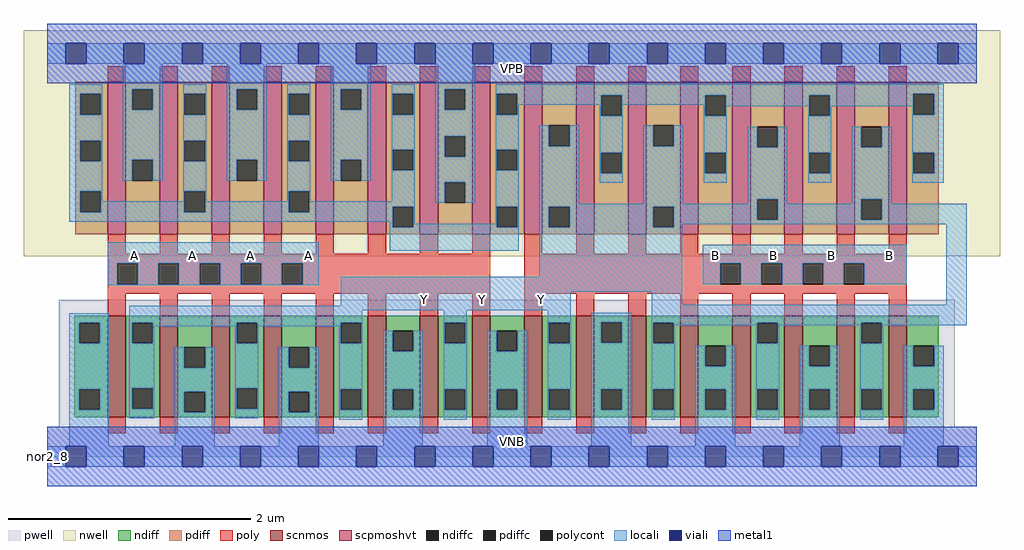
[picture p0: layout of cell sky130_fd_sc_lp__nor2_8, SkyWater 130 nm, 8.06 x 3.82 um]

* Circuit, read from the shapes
.subckt sky130_fd_sc_lp__nor2_8 A B VGND VNB VPB VPWR Y
XM1 Y A VGND VNB sky130_fd_pr__nfet_01v8 w=0.84 l=0.15 m=8
XM2 Y B VGND VNB sky130_fd_pr__nfet_01v8 w=0.84 l=0.15 m=8
XM3 VPWR A n1 VPB sky130_fd_pr__pfet_01v8_hvt w=1.26 l=0.15 m=8
XM4 Y B n1 VPB sky130_fd_pr__pfet_01v8_hvt w=1.26 l=0.15 m=8
.ends

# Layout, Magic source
magic
tech sky130A
magscale 1 2
<< nwell >>
rect -38 331 1574 704
<< pwell >>
rect 19 49 1499 259
rect 0 0 1536 49
<< scnmos >>
rect 100 65 130 233
rect 186 65 216 233
rect 272 65 302 233
rect 358 65 388 233
rect 444 65 474 233
rect 530 65 560 233
rect 616 65 646 233
rect 702 65 732 233
rect 788 65 818 233
rect 874 65 904 233
rect 960 65 990 233
rect 1046 65 1076 233
rect 1132 65 1162 233
rect 1218 65 1248 233
rect 1304 65 1334 233
rect 1390 65 1420 233
<< scpmoshvt >>
rect 100 367 130 619
rect 186 367 216 619
rect 272 367 302 619
rect 358 367 388 619
rect 444 367 474 619
rect 530 367 560 619
rect 616 367 646 619
rect 702 367 732 619
rect 788 367 818 619
rect 874 367 904 619
rect 960 367 990 619
rect 1046 367 1076 619
rect 1132 367 1162 619
rect 1218 367 1248 619
rect 1304 367 1334 619
rect 1390 367 1420 619
<< ndiff >>
rect 45 221 100 233
rect 45 187 53 221
rect 87 187 100 221
rect 45 111 100 187
rect 45 77 53 111
rect 87 77 100 111
rect 45 65 100 77
rect 130 221 186 233
rect 130 187 141 221
rect 175 187 186 221
rect 130 113 186 187
rect 130 79 141 113
rect 175 79 186 113
rect 130 65 186 79
rect 216 181 272 233
rect 216 147 227 181
rect 261 147 272 181
rect 216 107 272 147
rect 216 73 227 107
rect 261 73 272 107
rect 216 65 272 73
rect 302 221 358 233
rect 302 187 313 221
rect 347 187 358 221
rect 302 113 358 187
rect 302 79 313 113
rect 347 79 358 113
rect 302 65 358 79
rect 388 181 444 233
rect 388 147 399 181
rect 433 147 444 181
rect 388 107 444 147
rect 388 73 399 107
rect 433 73 444 107
rect 388 65 444 73
rect 474 221 530 233
rect 474 187 485 221
rect 519 187 530 221
rect 474 111 530 187
rect 474 77 485 111
rect 519 77 530 111
rect 474 65 530 77
rect 560 208 616 233
rect 560 174 571 208
rect 605 174 616 208
rect 560 111 616 174
rect 560 77 571 111
rect 605 77 616 111
rect 560 65 616 77
rect 646 221 702 233
rect 646 187 657 221
rect 691 187 702 221
rect 646 111 702 187
rect 646 77 657 111
rect 691 77 702 111
rect 646 65 702 77
rect 732 208 788 233
rect 732 174 743 208
rect 777 174 788 208
rect 732 111 788 174
rect 732 77 743 111
rect 777 77 788 111
rect 732 65 788 77
rect 818 221 874 233
rect 818 187 829 221
rect 863 187 874 221
rect 818 111 874 187
rect 818 77 829 111
rect 863 77 874 111
rect 818 65 874 77
rect 904 222 960 233
rect 904 188 915 222
rect 949 188 960 222
rect 904 111 960 188
rect 904 77 915 111
rect 949 77 960 111
rect 904 65 960 77
rect 990 221 1046 233
rect 990 187 1001 221
rect 1035 187 1046 221
rect 990 111 1046 187
rect 990 77 1001 111
rect 1035 77 1046 111
rect 990 65 1046 77
rect 1076 183 1132 233
rect 1076 149 1087 183
rect 1121 149 1132 183
rect 1076 111 1132 149
rect 1076 77 1087 111
rect 1121 77 1132 111
rect 1076 65 1132 77
rect 1162 221 1218 233
rect 1162 187 1173 221
rect 1207 187 1218 221
rect 1162 111 1218 187
rect 1162 77 1173 111
rect 1207 77 1218 111
rect 1162 65 1218 77
rect 1248 183 1304 233
rect 1248 149 1259 183
rect 1293 149 1304 183
rect 1248 111 1304 149
rect 1248 77 1259 111
rect 1293 77 1304 111
rect 1248 65 1304 77
rect 1334 221 1390 233
rect 1334 187 1345 221
rect 1379 187 1390 221
rect 1334 111 1390 187
rect 1334 77 1345 111
rect 1379 77 1390 111
rect 1334 65 1390 77
rect 1420 183 1473 233
rect 1420 149 1431 183
rect 1465 149 1473 183
rect 1420 111 1473 149
rect 1420 77 1431 111
rect 1465 77 1473 111
rect 1420 65 1473 77
<< pdiff >>
rect 47 599 100 619
rect 47 565 55 599
rect 89 565 100 599
rect 47 522 100 565
rect 47 488 55 522
rect 89 488 100 522
rect 47 438 100 488
rect 47 404 55 438
rect 89 404 100 438
rect 47 367 100 404
rect 130 607 186 619
rect 130 573 141 607
rect 175 573 186 607
rect 130 490 186 573
rect 130 456 141 490
rect 175 456 186 490
rect 130 367 186 456
rect 216 599 272 619
rect 216 565 227 599
rect 261 565 272 599
rect 216 522 272 565
rect 216 488 227 522
rect 261 488 272 522
rect 216 438 272 488
rect 216 404 227 438
rect 261 404 272 438
rect 216 367 272 404
rect 302 607 358 619
rect 302 573 313 607
rect 347 573 358 607
rect 302 490 358 573
rect 302 456 313 490
rect 347 456 358 490
rect 302 367 358 456
rect 388 599 444 619
rect 388 565 399 599
rect 433 565 444 599
rect 388 522 444 565
rect 388 488 399 522
rect 433 488 444 522
rect 388 438 444 488
rect 388 404 399 438
rect 433 404 444 438
rect 388 367 444 404
rect 474 607 530 619
rect 474 573 485 607
rect 519 573 530 607
rect 474 490 530 573
rect 474 456 485 490
rect 519 456 530 490
rect 474 367 530 456
rect 560 599 616 619
rect 560 565 571 599
rect 605 565 616 599
rect 560 507 616 565
rect 560 473 571 507
rect 605 473 616 507
rect 560 413 616 473
rect 560 379 571 413
rect 605 379 616 413
rect 560 367 616 379
rect 646 607 702 619
rect 646 573 657 607
rect 691 573 702 607
rect 646 529 702 573
rect 646 495 657 529
rect 691 495 702 529
rect 646 453 702 495
rect 646 419 657 453
rect 691 419 702 453
rect 646 367 702 419
rect 732 599 788 619
rect 732 565 743 599
rect 777 565 788 599
rect 732 507 788 565
rect 732 473 743 507
rect 777 473 788 507
rect 732 413 788 473
rect 732 379 743 413
rect 777 379 788 413
rect 732 367 788 379
rect 818 547 874 619
rect 818 513 829 547
rect 863 513 874 547
rect 818 413 874 513
rect 818 379 829 413
rect 863 379 874 413
rect 818 367 874 379
rect 904 597 960 619
rect 904 563 915 597
rect 949 563 960 597
rect 904 502 960 563
rect 904 468 915 502
rect 949 468 960 502
rect 904 367 960 468
rect 990 547 1046 619
rect 990 513 1001 547
rect 1035 513 1046 547
rect 990 413 1046 513
rect 990 379 1001 413
rect 1035 379 1046 413
rect 990 367 1046 379
rect 1076 597 1132 619
rect 1076 563 1087 597
rect 1121 563 1132 597
rect 1076 502 1132 563
rect 1076 468 1087 502
rect 1121 468 1132 502
rect 1076 367 1132 468
rect 1162 545 1218 619
rect 1162 511 1173 545
rect 1207 511 1218 545
rect 1162 425 1218 511
rect 1162 391 1173 425
rect 1207 391 1218 425
rect 1162 367 1218 391
rect 1248 597 1304 619
rect 1248 563 1259 597
rect 1293 563 1304 597
rect 1248 502 1304 563
rect 1248 468 1259 502
rect 1293 468 1304 502
rect 1248 367 1304 468
rect 1334 545 1390 619
rect 1334 511 1345 545
rect 1379 511 1390 545
rect 1334 425 1390 511
rect 1334 391 1345 425
rect 1379 391 1390 425
rect 1334 367 1390 391
rect 1420 599 1473 619
rect 1420 565 1431 599
rect 1465 565 1473 599
rect 1420 502 1473 565
rect 1420 468 1431 502
rect 1465 468 1473 502
rect 1420 367 1473 468
<< ndiffc >>
rect 53 187 87 221
rect 53 77 87 111
rect 141 187 175 221
rect 141 79 175 113
rect 227 147 261 181
rect 227 73 261 107
rect 313 187 347 221
rect 313 79 347 113
rect 399 147 433 181
rect 399 73 433 107
rect 485 187 519 221
rect 485 77 519 111
rect 571 174 605 208
rect 571 77 605 111
rect 657 187 691 221
rect 657 77 691 111
rect 743 174 777 208
rect 743 77 777 111
rect 829 187 863 221
rect 829 77 863 111
rect 915 188 949 222
rect 915 77 949 111
rect 1001 187 1035 221
rect 1001 77 1035 111
rect 1087 149 1121 183
rect 1087 77 1121 111
rect 1173 187 1207 221
rect 1173 77 1207 111
rect 1259 149 1293 183
rect 1259 77 1293 111
rect 1345 187 1379 221
rect 1345 77 1379 111
rect 1431 149 1465 183
rect 1431 77 1465 111
<< pdiffc >>
rect 55 565 89 599
rect 55 488 89 522
rect 55 404 89 438
rect 141 573 175 607
rect 141 456 175 490
rect 227 565 261 599
rect 227 488 261 522
rect 227 404 261 438
rect 313 573 347 607
rect 313 456 347 490
rect 399 565 433 599
rect 399 488 433 522
rect 399 404 433 438
rect 485 573 519 607
rect 485 456 519 490
rect 571 565 605 599
rect 571 473 605 507
rect 571 379 605 413
rect 657 573 691 607
rect 657 495 691 529
rect 657 419 691 453
rect 743 565 777 599
rect 743 473 777 507
rect 743 379 777 413
rect 829 513 863 547
rect 829 379 863 413
rect 915 563 949 597
rect 915 468 949 502
rect 1001 513 1035 547
rect 1001 379 1035 413
rect 1087 563 1121 597
rect 1087 468 1121 502
rect 1173 511 1207 545
rect 1173 391 1207 425
rect 1259 563 1293 597
rect 1259 468 1293 502
rect 1345 511 1379 545
rect 1345 391 1379 425
rect 1431 565 1465 599
rect 1431 468 1465 502
<< poly >>
rect 100 619 130 645
rect 186 619 216 645
rect 272 619 302 645
rect 358 619 388 645
rect 444 619 474 645
rect 530 619 560 645
rect 616 619 646 645
rect 702 619 732 645
rect 788 619 818 645
rect 874 619 904 645
rect 960 619 990 645
rect 1046 619 1076 645
rect 1132 619 1162 645
rect 1218 619 1248 645
rect 1304 619 1334 645
rect 1390 619 1420 645
rect 100 335 130 367
rect 186 335 216 367
rect 272 335 302 367
rect 358 335 388 367
rect 444 335 474 367
rect 530 335 560 367
rect 616 335 646 367
rect 702 335 732 367
rect 100 319 732 335
rect 100 285 116 319
rect 150 285 184 319
rect 218 285 252 319
rect 286 285 320 319
rect 354 285 388 319
rect 422 285 732 319
rect 100 269 732 285
rect 100 233 130 269
rect 186 233 216 269
rect 272 233 302 269
rect 358 233 388 269
rect 444 233 474 269
rect 530 233 560 269
rect 616 233 646 269
rect 702 233 732 269
rect 788 335 818 367
rect 874 335 904 367
rect 960 335 990 367
rect 1046 335 1076 367
rect 1132 335 1162 367
rect 1218 335 1248 367
rect 1304 335 1334 367
rect 1390 335 1420 367
rect 788 319 1420 335
rect 788 285 1112 319
rect 1146 285 1180 319
rect 1214 285 1248 319
rect 1282 285 1316 319
rect 1350 285 1420 319
rect 788 269 1420 285
rect 788 233 818 269
rect 874 233 904 269
rect 960 233 990 269
rect 1046 233 1076 269
rect 1132 233 1162 269
rect 1218 233 1248 269
rect 1304 233 1334 269
rect 1390 233 1420 269
rect 100 39 130 65
rect 186 39 216 65
rect 272 39 302 65
rect 358 39 388 65
rect 444 39 474 65
rect 530 39 560 65
rect 616 39 646 65
rect 702 39 732 65
rect 788 39 818 65
rect 874 39 904 65
rect 960 39 990 65
rect 1046 39 1076 65
rect 1132 39 1162 65
rect 1218 39 1248 65
rect 1304 39 1334 65
rect 1390 39 1420 65
<< polycont >>
rect 116 285 150 319
rect 184 285 218 319
rect 252 285 286 319
rect 320 285 354 319
rect 388 285 422 319
rect 1112 285 1146 319
rect 1180 285 1214 319
rect 1248 285 1282 319
rect 1316 285 1350 319
<< locali >>
rect 0 649 31 683
rect 65 649 127 683
rect 161 649 223 683
rect 257 649 319 683
rect 353 649 415 683
rect 449 649 511 683
rect 545 649 607 683
rect 641 649 703 683
rect 737 649 799 683
rect 833 649 895 683
rect 929 649 991 683
rect 1025 649 1087 683
rect 1121 649 1183 683
rect 1217 649 1279 683
rect 1313 649 1375 683
rect 1409 649 1471 683
rect 1505 649 1536 683
rect 37 599 91 615
rect 37 565 55 599
rect 89 565 91 599
rect 37 522 91 565
rect 37 488 55 522
rect 89 488 91 522
rect 37 438 91 488
rect 125 607 191 649
rect 125 573 141 607
rect 175 573 191 607
rect 125 490 191 573
rect 125 456 141 490
rect 175 456 191 490
rect 225 599 263 615
rect 225 565 227 599
rect 261 565 263 599
rect 225 522 263 565
rect 225 488 227 522
rect 261 488 263 522
rect 37 404 55 438
rect 89 422 91 438
rect 225 438 263 488
rect 297 607 363 649
rect 297 573 313 607
rect 347 573 363 607
rect 297 490 363 573
rect 297 456 313 490
rect 347 456 363 490
rect 397 599 435 615
rect 397 565 399 599
rect 433 565 435 599
rect 397 522 435 565
rect 397 488 399 522
rect 433 488 435 522
rect 225 422 227 438
rect 89 404 227 422
rect 261 422 263 438
rect 397 438 435 488
rect 469 607 535 649
rect 469 573 485 607
rect 519 573 535 607
rect 469 490 535 573
rect 469 456 485 490
rect 519 456 535 490
rect 569 599 607 615
rect 569 565 571 599
rect 605 565 607 599
rect 569 507 607 565
rect 569 473 571 507
rect 605 473 607 507
rect 397 422 399 438
rect 261 404 399 422
rect 433 422 435 438
rect 569 422 607 473
rect 433 413 607 422
rect 641 607 707 649
rect 641 573 657 607
rect 691 573 707 607
rect 641 529 707 573
rect 641 495 657 529
rect 691 495 707 529
rect 641 453 707 495
rect 641 419 657 453
rect 691 419 707 453
rect 741 599 1481 615
rect 741 565 743 599
rect 777 597 1431 599
rect 777 581 915 597
rect 777 565 779 581
rect 741 507 779 565
rect 913 563 915 581
rect 949 581 1087 597
rect 949 563 951 581
rect 741 473 743 507
rect 777 473 779 507
rect 433 404 571 413
rect 37 388 571 404
rect 566 379 571 388
rect 605 385 607 413
rect 741 413 779 473
rect 741 385 743 413
rect 605 379 743 385
rect 777 379 779 413
rect 100 319 449 354
rect 566 340 779 379
rect 813 513 829 547
rect 863 513 879 547
rect 813 418 879 513
rect 913 502 951 563
rect 1085 563 1087 581
rect 1121 579 1259 597
rect 1121 563 1123 579
rect 913 468 915 502
rect 949 468 951 502
rect 913 452 951 468
rect 985 513 1001 547
rect 1035 513 1051 547
rect 985 418 1051 513
rect 1085 502 1123 563
rect 1257 563 1259 579
rect 1293 579 1431 597
rect 1293 563 1295 579
rect 1085 468 1087 502
rect 1121 468 1123 502
rect 1085 452 1123 468
rect 1157 511 1173 545
rect 1207 511 1223 545
rect 1157 425 1223 511
rect 1257 502 1295 563
rect 1429 565 1431 579
rect 1465 565 1481 599
rect 1257 468 1259 502
rect 1293 468 1295 502
rect 1257 452 1295 468
rect 1329 511 1345 545
rect 1379 511 1395 545
rect 1157 418 1173 425
rect 813 413 1173 418
rect 813 379 829 413
rect 863 379 1001 413
rect 1035 391 1173 413
rect 1207 418 1223 425
rect 1329 425 1395 511
rect 1429 502 1481 565
rect 1429 468 1431 502
rect 1465 468 1481 502
rect 1429 452 1481 468
rect 1329 418 1345 425
rect 1207 391 1345 418
rect 1379 418 1395 425
rect 1379 391 1519 418
rect 1035 384 1519 391
rect 1035 379 1049 384
rect 100 285 116 319
rect 150 285 184 319
rect 218 285 252 319
rect 286 285 320 319
rect 354 285 388 319
rect 422 285 449 319
rect 813 297 1049 379
rect 100 283 449 285
rect 485 272 1049 297
rect 1083 319 1420 350
rect 1083 285 1112 319
rect 1146 285 1180 319
rect 1214 285 1248 319
rect 1282 285 1316 319
rect 1350 285 1420 319
rect 485 249 865 272
rect 136 242 865 249
rect 37 221 102 237
rect 37 187 53 221
rect 87 187 102 221
rect 37 111 102 187
rect 37 77 53 111
rect 87 77 102 111
rect 37 17 102 77
rect 136 221 521 242
rect 136 187 141 221
rect 175 215 313 221
rect 175 187 177 215
rect 136 113 177 187
rect 311 187 313 215
rect 347 215 485 221
rect 347 187 349 215
rect 136 79 141 113
rect 175 79 177 113
rect 136 63 177 79
rect 211 147 227 181
rect 261 147 277 181
rect 211 107 277 147
rect 211 73 227 107
rect 261 73 277 107
rect 211 17 277 73
rect 311 113 349 187
rect 483 187 485 215
rect 519 187 521 221
rect 655 221 693 242
rect 311 79 313 113
rect 347 79 349 113
rect 311 63 349 79
rect 383 147 399 181
rect 433 147 449 181
rect 383 107 449 147
rect 383 73 399 107
rect 433 73 449 107
rect 383 17 449 73
rect 483 111 521 187
rect 483 77 485 111
rect 519 77 521 111
rect 483 61 521 77
rect 555 174 571 208
rect 605 174 621 208
rect 555 111 621 174
rect 555 77 571 111
rect 605 77 621 111
rect 555 17 621 77
rect 655 187 657 221
rect 691 187 693 221
rect 827 221 865 242
rect 999 251 1049 272
rect 1485 251 1519 384
rect 655 111 693 187
rect 655 77 657 111
rect 691 77 693 111
rect 655 61 693 77
rect 727 174 743 208
rect 777 174 793 208
rect 727 111 793 174
rect 727 77 743 111
rect 777 77 793 111
rect 727 17 793 77
rect 827 187 829 221
rect 863 187 865 221
rect 827 111 865 187
rect 827 77 829 111
rect 863 77 865 111
rect 827 61 865 77
rect 899 222 965 238
rect 899 188 915 222
rect 949 188 965 222
rect 899 111 965 188
rect 899 77 915 111
rect 949 77 965 111
rect 899 17 965 77
rect 999 221 1519 251
rect 999 187 1001 221
rect 1035 217 1173 221
rect 1035 187 1037 217
rect 999 111 1037 187
rect 1171 187 1173 217
rect 1207 217 1345 221
rect 1207 187 1209 217
rect 999 77 1001 111
rect 1035 77 1037 111
rect 999 61 1037 77
rect 1071 149 1087 183
rect 1121 149 1137 183
rect 1071 111 1137 149
rect 1071 77 1087 111
rect 1121 77 1137 111
rect 1071 17 1137 77
rect 1171 111 1209 187
rect 1343 187 1345 217
rect 1379 217 1519 221
rect 1379 187 1381 217
rect 1171 77 1173 111
rect 1207 77 1209 111
rect 1171 61 1209 77
rect 1243 149 1259 183
rect 1293 149 1309 183
rect 1243 111 1309 149
rect 1243 77 1259 111
rect 1293 77 1309 111
rect 1243 17 1309 77
rect 1343 111 1381 187
rect 1343 77 1345 111
rect 1379 77 1381 111
rect 1343 61 1381 77
rect 1415 149 1431 183
rect 1465 149 1481 183
rect 1415 111 1481 149
rect 1415 77 1431 111
rect 1465 77 1481 111
rect 1415 17 1481 77
rect 0 -17 31 17
rect 65 -17 127 17
rect 161 -17 223 17
rect 257 -17 319 17
rect 353 -17 415 17
rect 449 -17 511 17
rect 545 -17 607 17
rect 641 -17 703 17
rect 737 -17 799 17
rect 833 -17 895 17
rect 929 -17 991 17
rect 1025 -17 1087 17
rect 1121 -17 1183 17
rect 1217 -17 1279 17
rect 1313 -17 1375 17
rect 1409 -17 1471 17
rect 1505 -17 1536 17
<< viali >>
rect 31 649 65 683
rect 127 649 161 683
rect 223 649 257 683
rect 319 649 353 683
rect 415 649 449 683
rect 511 649 545 683
rect 607 649 641 683
rect 703 649 737 683
rect 799 649 833 683
rect 895 649 929 683
rect 991 649 1025 683
rect 1087 649 1121 683
rect 1183 649 1217 683
rect 1279 649 1313 683
rect 1375 649 1409 683
rect 1471 649 1505 683
rect 31 -17 65 17
rect 127 -17 161 17
rect 223 -17 257 17
rect 319 -17 353 17
rect 415 -17 449 17
rect 511 -17 545 17
rect 607 -17 641 17
rect 703 -17 737 17
rect 799 -17 833 17
rect 895 -17 929 17
rect 991 -17 1025 17
rect 1087 -17 1121 17
rect 1183 -17 1217 17
rect 1279 -17 1313 17
rect 1375 -17 1409 17
rect 1471 -17 1505 17
<< metal1 >>
rect 0 683 1536 715
rect 0 649 31 683
rect 65 649 127 683
rect 161 649 223 683
rect 257 649 319 683
rect 353 649 415 683
rect 449 649 511 683
rect 545 649 607 683
rect 641 649 703 683
rect 737 649 799 683
rect 833 649 895 683
rect 929 649 991 683
rect 1025 649 1087 683
rect 1121 649 1183 683
rect 1217 649 1279 683
rect 1313 649 1375 683
rect 1409 649 1471 683
rect 1505 649 1536 683
rect 0 617 1536 649
rect 0 17 1536 49
rect 0 -17 31 17
rect 65 -17 127 17
rect 161 -17 223 17
rect 257 -17 319 17
rect 353 -17 415 17
rect 449 -17 511 17
rect 545 -17 607 17
rect 641 -17 703 17
rect 737 -17 799 17
rect 833 -17 895 17
rect 929 -17 991 17
rect 1025 -17 1087 17
rect 1121 -17 1183 17
rect 1217 -17 1279 17
rect 1313 -17 1375 17
rect 1409 -17 1471 17
rect 1505 -17 1536 17
rect 0 -49 1536 -17
<< labels >>
flabel pwell s 0 0 1536 49 0 FreeSans 200 0 0 0 VNB
port 4 nsew ground bidirectional
flabel nwell s 0 617 1536 666 0 FreeSans 200 0 0 0 VPB
port 5 nsew power bidirectional
rlabel comment s 0 0 0 0 4 nor2_8
flabel metal1 s 0 617 1536 666 0 FreeSans 340 0 0 0 VPWR
port 6 nsew power bidirectional
flabel metal1 s 0 0 1536 49 0 FreeSans 340 0 0 0 VGND
port 3 nsew ground bidirectional
flabel locali s 703 242 737 276 0 FreeSans 340 0 0 0 Y
port 7 nsew signal output
flabel locali s 799 242 833 276 0 FreeSans 340 0 0 0 Y
port 7 nsew signal output
flabel locali s 127 316 161 350 0 FreeSans 340 0 0 0 A
port 1 nsew signal input
flabel locali s 223 316 257 350 0 FreeSans 340 0 0 0 A
port 1 nsew signal input
flabel locali s 319 316 353 350 0 FreeSans 340 0 0 0 A
port 1 nsew signal input
flabel locali s 1087 316 1121 350 0 FreeSans 340 0 0 0 B
port 2 nsew signal input
flabel locali s 1183 316 1217 350 0 FreeSans 340 0 0 0 B
port 2 nsew signal input
flabel locali s 1279 316 1313 350 0 FreeSans 340 0 0 0 B
port 2 nsew signal input
flabel locali s 1375 316 1409 350 0 FreeSans 340 0 0 0 B
port 2 nsew signal input
flabel locali s 607 242 641 276 0 FreeSans 340 0 0 0 Y
port 7 nsew signal output
flabel locali s 415 316 449 350 0 FreeSans 340 0 0 0 A
port 1 nsew signal input
<< properties >>
string LEFsite unit
string LEFclass CORE
string FIXED_BBOX 0 0 1536 666
string GDS_FILE $PDKPATH/libs.ref/sky130_fd_sc_lp/gds/sky130_fd_sc_lp.gds
string LEFsymmetry X Y R90
string GDS_END 5301972
string GDS_START 5289406
<< end >>
